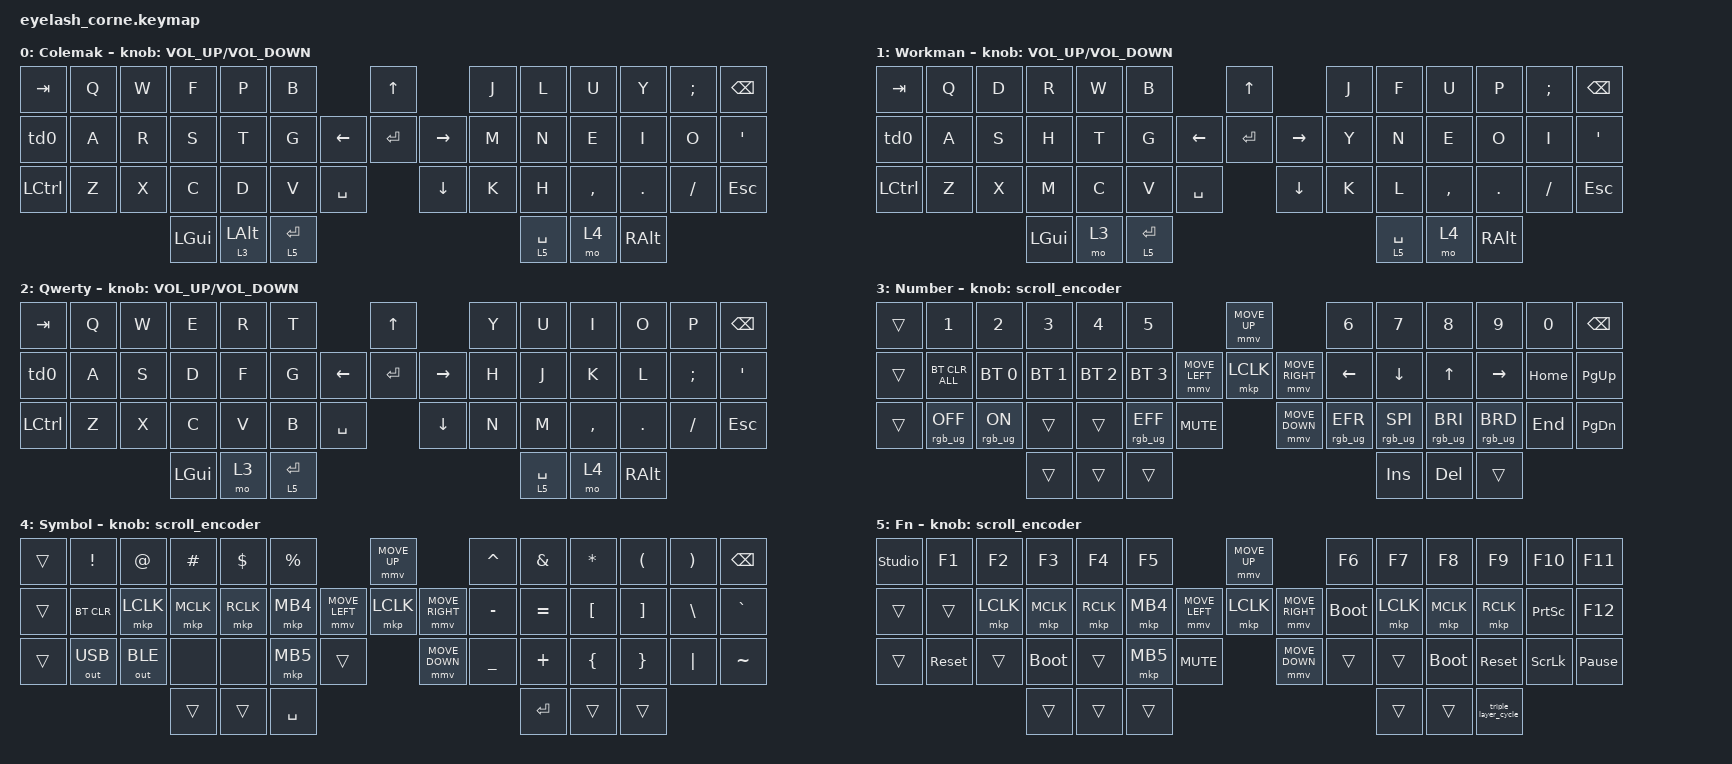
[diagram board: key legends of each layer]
#define ZMK_POINTING_DEFAULT_MOVE_VAL 1200  // 600
#define ZMK_POINTING_DEFAULT_SCRL_VAL 25   // 10

#include <input/processors.dtsi>
#include <zephyr/dt-bindings/input/input-event-codes.h>
#include <behaviors.dtsi>
#include <dt-bindings/zmk/bt.h>
#include <dt-bindings/zmk/keys.h>
#include <dt-bindings/zmk/outputs.h>
#include <dt-bindings/zmk/pointing.h>
#include <dt-bindings/zmk/rgb.h>

&mmv_input_listener { input-processors = <&zip_xy_scaler 2 1>; };

&msc_input_listener { input-processors = <&zip_scroll_scaler 2 1>; };

&msc {
    acceleration-exponent = <1>;      // 0
    time-to-max-speed-ms = <100>;       // 300
    delay-ms = <0>;                   // 0
};

&mmv {
    time-to-max-speed-ms = <500>;
    acceleration-exponent = <1>;
    trigger-period-ms = <16>;
};

&soft_off { hold-time-ms = <2000>; };

/ {
    behaviors {
        td0: td0 {
            compatible = "zmk,behavior-tap-dance";
            display-name = "Shift/Caps Lock Tap Dance";
            #binding-cells = <0>;
            bindings = <&kp LEFT_SHIFT>, <&kp CAPS>;
        };
        // Define a custom Tap Dance named 'triple_layer_cycle'
        triple_layer_cycle: triple_layer_cycle {
            compatible = "zmk,behavior-tap-dance";
            label = "TD_3LAYER";
            #binding-cells = <0>; // Tap Dance in ZMK doesn't take parameters directly
            
            bindings = <
                // Single Tap (Count 1) -> Switch to Colemak (Layer 1)
                &to 1

                // Double Tap (Count 2) -> Switch to Workman (Layer 2)
                &to 2

                // Triple Tap (Count 3) -> Switch to QWERTY (Layer 0)
                &to 0
            >;
        };
    };

    rgb_encoder: rgb_encoder {
        compatible = "zmk,behavior-sensor-rotate";
        #sensor-binding-cells = <0>;
        bindings = <&rgb_ug RGB_BRI>, <&rgb_ug RGB_BRD>;
    };

    scroll_encoder: scroll_encoder {
        compatible = "zmk,behavior-sensor-rotate";
        #sensor-binding-cells = <0>;
        bindings = <&msc SCRL_DOWN>, <&msc SCRL_UP>;

        tap-ms = <100>;
    };

    combos {
        compatible = "zmk,combos";

        softoff {
            bindings = <&soft_off>;
            key-positions = <1 15 29>;
        };
    };

    keymap {
        compatible = "zmk,keymap";

        colemak_layer {
            display-name = "Colemak";
            bindings = <
&kp TAB    &kp Q  &kp W  &kp F     &kp P  &kp B                               &kp UP                &kp J        &kp L  &kp U      &kp Y    &kp SEMI  &kp BSPC
&td0       &kp A  &kp R  &kp S     &kp T  &kp G                     &kp LEFT  &kp ENTER  &kp RIGHT  &kp M        &kp N  &kp E      &kp I    &kp O     &kp SQT
&kp LCTRL  &kp Z  &kp X  &kp C     &kp D  &kp V        &kp SPACE              &kp DOWN              &kp K        &kp H  &kp COMMA  &kp DOT  &kp FSLH  &kp ESC
                         &kp LGUI  &lt 3 LALT  &lt 5 ENTER                                               &lt 5 SPACE  &mo 4  &kp RALT
            >;

             sensor-bindings = <&inc_dec_kp C_VOLUME_UP C_VOLUME_DOWN>;
        };

        workman_layer {
            display-name = "Workman";
            bindings = <
&kp TAB    &kp Q  &kp D  &kp R     &kp W  &kp B                               &kp UP                &kp J        &kp F  &kp U      &kp P    &kp SEMI  &kp BSPC
&td0       &kp A  &kp S  &kp H     &kp T  &kp G                     &kp LEFT  &kp ENTER  &kp RIGHT  &kp Y        &kp N  &kp E      &kp O    &kp I     &kp SQT
&kp LCTRL  &kp Z  &kp X  &kp M     &kp C  &kp V        &kp SPACE              &kp DOWN              &kp K        &kp L  &kp COMMA  &kp DOT  &kp FSLH  &kp ESC
                         &kp LGUI  &mo 3  &lt 5 ENTER                                               &lt 5 SPACE  &mo 4  &kp RALT
            >;

             sensor-bindings = <&inc_dec_kp C_VOLUME_UP C_VOLUME_DOWN>;
        };

        qwerty_layer {
            display-name = "Qwerty";
            bindings = <
&kp TAB    &kp Q  &kp W  &kp E     &kp R  &kp T                               &kp UP                &kp Y        &kp U  &kp I      &kp O    &kp P     &kp BSPC
&td0       &kp A  &kp S  &kp D     &kp F  &kp G                     &kp LEFT  &kp ENTER  &kp RIGHT  &kp H        &kp J  &kp K      &kp L    &kp SEMI  &kp SQT
&kp LCTRL  &kp Z  &kp X  &kp C     &kp V  &kp B        &kp SPACE              &kp DOWN              &kp N        &kp M  &kp COMMA  &kp DOT  &kp FSLH  &kp ESC
                         &kp LGUI  &mo 3  &lt 5 ENTER                                               &lt 5 SPACE  &mo 4  &kp RALT
            >;

             sensor-bindings = <&inc_dec_kp C_VOLUME_UP C_VOLUME_DOWN>;
        };

        number_layer {
            display-name = "Number";
            bindings = <
&trans  &kp N1           &kp N2          &kp N3        &kp N4        &kp N5                                         &mmv MOVE_UP                     &kp N6           &kp N7           &kp N8           &kp N9           &kp N0    &kp BSPC
&trans  &bt BT_CLR_ALL   &bt BT_SEL 0    &bt BT_SEL 1  &bt BT_SEL 2  &bt BT_SEL 3                   &mmv MOVE_LEFT  &mkp LCLK       &mmv MOVE_RIGHT  &kp LEFT         &kp DOWN         &kp UP           &kp RIGHT        &kp HOME  &kp PG_UP
&trans  &rgb_ug RGB_OFF  &rgb_ug RGB_ON  &trans        &trans        &rgb_ug RGB_EFF  &kp C_MUTE                    &mmv MOVE_DOWN                   &rgb_ug RGB_EFR  &rgb_ug RGB_SPI  &rgb_ug RGB_BRI  &rgb_ug RGB_BRD  &kp END   &kp PG_DN
                                         &trans        &trans        &trans                                                                          &kp INS          &kp DEL          &trans
            >;

            sensor-bindings = <&scroll_encoder>;
        };

        symbol_layer {
            display-name = "Symbol";
            bindings = <
&trans  &kp EXCL      &kp AT        &kp HASH   &kp DLLR   &kp PRCNT                            &mmv MOVE_UP                     &kp CARET  &kp AMPS   &kp ASTRK  &kp LPAR  &kp RPAR  &kp BSPC
&trans  &bt BT_CLR    &mkp LCLK     &mkp MCLK  &mkp RCLK  &mkp MB4             &mmv MOVE_LEFT  &mkp LCLK       &mmv MOVE_RIGHT  &kp MINUS  &kp EQUAL  &kp LBKT   &kp RBKT  &kp BSLH  &kp GRAVE
&trans  &out OUT_USB  &out OUT_BLE  &none      &none      &mkp MB5   &trans                    &mmv MOVE_DOWN                   &kp UNDER  &kp PLUS   &kp LBRC   &kp RBRC  &kp PIPE  &kp TILDE
                                    &trans     &trans     &kp SPACE                                                             &kp RET    &trans     &trans
            >;

            sensor-bindings = <&scroll_encoder>;
        };

        layer_fn {
            display-name = "Fn";
            bindings = <
&studio_unlock  &kp F1      &kp F2     &kp F3       &kp F4     &kp F5                                  &mmv MOVE_UP                     &kp F6       &kp F7     &kp F8       &kp F9      &kp F10          &kp F11
&trans          &trans      &mkp LCLK  &mkp MCLK    &mkp RCLK  &mkp MB4                &mmv MOVE_LEFT  &mkp LCLK       &mmv MOVE_RIGHT  &bootloader  &mkp LCLK  &mkp MCLK    &mkp RCLK   &kp PRINTSCREEN  &kp F12
&trans          &sys_reset  &trans     &bootloader  &trans     &mkp MB5  &kp C_MUTE                    &mmv MOVE_DOWN                   &trans       &trans     &bootloader  &sys_reset  &kp SCROLLLOCK   &kp PAUSE_BREAK
                                       &trans       &trans     &trans                                                                   &trans       &trans     &triple_layer_cycle
            >;

            sensor-bindings = <&scroll_encoder>;
        };
    };
};
